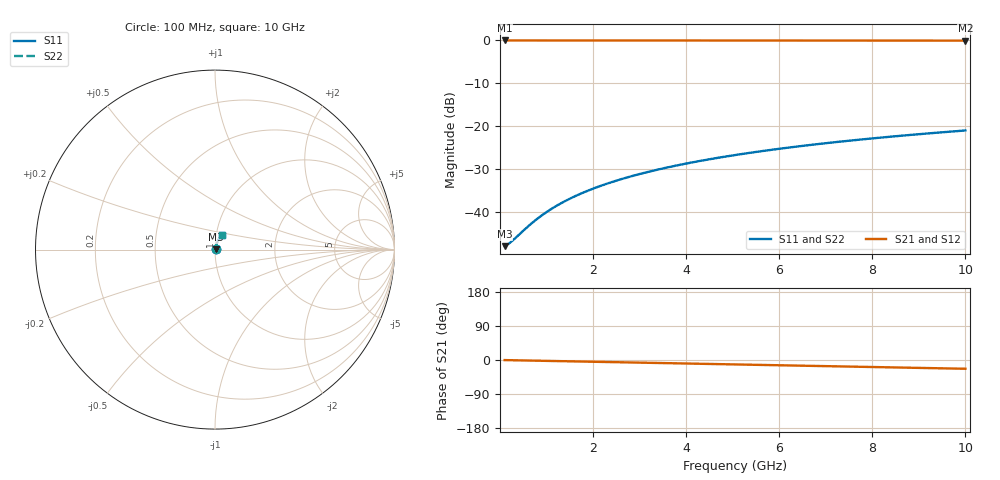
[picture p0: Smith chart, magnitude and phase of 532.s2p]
# Hz S RI R 50.00
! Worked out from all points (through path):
!   100 points, 100 MHz to 10 GHz, reference 50 ohm
!   highest |S21| = -0.03 dB at 100 MHz (marker M1); lowest = -0.1 dB at 10 GHz (marker M2)
!   group delay of S21, straight-line fit = 6.43 ps
!   lowest |S11| = -47.9 dB at 100 MHz (marker M3), VSWR 1.01, Z = 50.4 + j0.0912 ohm
!   |S11| at or under -10 dB: start of sweep to end of sweep
!   |S22| runs from -47.9 to -21.0 dB; largest |S21 - S12| = 0
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1e8  0.00393 0.000905  0.9961 -0.00402  0.9961 -0.00402  0.00393 0.000905
2e8  0.00397 0.00181  0.996 -0.00804  0.996 -0.00804  0.00397 0.00181
3e8  0.00401 0.00271  0.9959 -0.0121  0.9959 -0.0121  0.00401 0.00271
6e8  0.00414 0.00542  0.9957 -0.0241  0.9957 -0.0241  0.00414 0.00542
7e8  0.0042 0.00633  0.9955 -0.0281  0.9955 -0.0281  0.0042 0.00633
8e8  0.00426 0.00723  0.9954 -0.0322  0.9954 -0.0322  0.00426 0.00723
1e9  0.00441 0.00903  0.9951 -0.0402  0.9951 -0.0402  0.00441 0.00903
1.2e9  0.00458 0.0108  0.9947 -0.0482  0.9947 -0.0482  0.00458 0.0108
1.4e9  0.00478 0.0126  0.9942 -0.0563  0.9942 -0.0563  0.00478 0.0126
1.6e9  0.00501 0.0144  0.9937 -0.0643  0.9937 -0.0643  0.00501 0.0144
1.8e9  0.00527 0.0162  0.9931 -0.0723  0.9931 -0.0723  0.00527 0.0162
2.1e9  0.00571 0.0189  0.9921 -0.0843  0.9921 -0.0843  0.00571 0.0189
2.5e9  0.0064 0.0224  0.9905 -0.1003  0.9905 -0.1003  0.0064 0.0224
2.9e9  0.0072 0.026  0.9886 -0.1163  0.9886 -0.1163  0.0072 0.026
3.4e9  0.00835 0.0303  0.9859 -0.1362  0.9859 -0.1362  0.00835 0.0303
4.2e9  0.0106 0.0372  0.9807 -0.168  0.9807 -0.168  0.0106 0.0372
5.1e9  0.0136 0.0447  0.9736 -0.2034  0.9736 -0.2034  0.0136 0.0447
5.9e9  0.0167 0.0512  0.9661 -0.2347  0.9661 -0.2347  0.0167 0.0512
6.7e9  0.0203 0.0575  0.9576 -0.2656  0.9576 -0.2656  0.0203 0.0575
7.5e9  0.0242 0.0635  0.9481 -0.2963  0.9481 -0.2963  0.0242 0.0635
8.4e9  0.0291 0.07  0.9361 -0.3303  0.9361 -0.3303  0.0291 0.07
1e10  0.0389 0.0805  0.9117 -0.3895  0.9117 -0.3895  0.0389 0.0805
